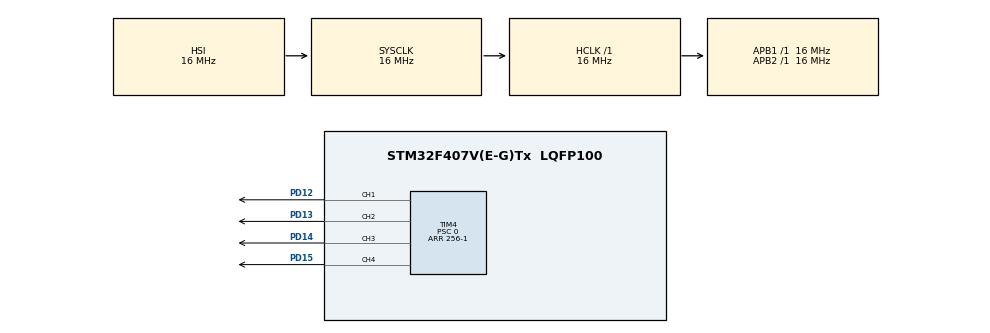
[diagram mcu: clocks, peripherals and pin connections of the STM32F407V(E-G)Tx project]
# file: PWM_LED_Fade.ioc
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Mcu.Family=STM32F4
Mcu.Name=STM32F407V(E-G)Tx
Mcu.Package=LQFP100
NVIC.PriorityGroup=NVIC_PRIORITYGROUP_4
NVIC.TIM4_IRQn=true\:0\:0\:false\:false\:true\:true\:true\:true
PD12.Signal=S_TIM4_CH1
PD13.Signal=S_TIM4_CH2
PD14.Signal=S_TIM4_CH3
PD15.Signal=S_TIM4_CH4
PH0-OSC_IN.Mode=HSE-External-Oscillator
PH0-OSC_IN.Signal=RCC_OSC_IN
PH1-OSC_OUT.Mode=HSE-External-Oscillator
PH1-OSC_OUT.Signal=RCC_OSC_OUT
ProjectManager.HeapSize=0x200
ProjectManager.StackSize=0x400
ProjectManager.TargetToolchain=STM32CubeIDE
RCC.AHBFreq_Value=16000000
RCC.APB1Freq_Value=16000000
RCC.APB2Freq_Value=16000000
RCC.CortexFreq_Value=16000000
RCC.HSE_VALUE=25000000
RCC.HSI_VALUE=16000000
RCC.LSE_VALUE=32768
RCC.SYSCLKFreq_VALUE=16000000
RCC.VCOOutputFreq_Value=192000000
SH.S_TIM4_CH1.0=TIM4_CH1,PWM Generation1 CH1
SH.S_TIM4_CH2.0=TIM4_CH2,PWM Generation2 CH2
SH.S_TIM4_CH3.0=TIM4_CH3,PWM Generation3 CH3
SH.S_TIM4_CH4.0=TIM4_CH4,PWM Generation4 CH4
TIM4.Channel-PWM\ Generation1\ CH1=TIM_CHANNEL_1
TIM4.Channel-PWM\ Generation2\ CH2=TIM_CHANNEL_2
TIM4.Channel-PWM\ Generation3\ CH3=TIM_CHANNEL_3
TIM4.Channel-PWM\ Generation4\ CH4=TIM_CHANNEL_4
TIM4.Period=256-1
TIM4.Prescaler=0
board=custom

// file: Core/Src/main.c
/* USER CODE BEGIN Header */
/**
 ******************************************************************************
 * @file           : main.c
 * @brief          : Main program body
 ******************************************************************************
 * @attention
 *
 * Copyright (c) 2024 STMicroelectronics.
 * All rights reserved.
 *
 * This software is licensed under terms that can be found in the LICENSE file
 * in the root directory of this software component.
 * If no LICENSE file comes with this software, it is provided AS-IS.
 *
 ******************************************************************************
 */
/* USER CODE END Header */
#include "main.h"

/* USER CODE BEGIN PD */
int state = 1;
int STARTED =0;
/* USER CODE END PD */

TIM_HandleTypeDef htim4;

void SystemClock_Config(void);
static void MX_GPIO_Init(void);
static void MX_TIM4_Init(void);

/* USER CODE BEGIN 0 */
void All_LED_FADE_PATTERN1();  //All led FAde in and out together
void ALL_LED_FADE_PATTERN2(); //LEDs fade in and out alternatively for example one led starts fading out the next one starts fading in
/* USER CODE END 0 */

int main(void) {

	/* MCU Configuration--------------------------------------------------------*/

	/* Reset of all peripherals, Initializes the Flash interface and the Systick. */
	HAL_Init();

	/* Configure the system clock */
	SystemClock_Config();

	/* Initialize all configured peripherals */
	MX_GPIO_Init();
	MX_TIM4_Init();
	/* USER CODE BEGIN 2 */
	HAL_TIM_PWM_Start(&htim4, TIM_CHANNEL_4);
	HAL_TIM_PWM_Start(&htim4, TIM_CHANNEL_3);
	HAL_TIM_PWM_Start(&htim4, TIM_CHANNEL_2);
	HAL_TIM_PWM_Start(&htim4, TIM_CHANNEL_1);
	/* USER CODE END 2 */

	/* Infinite loop */
	while (1) {
		/* USER CODE BEGIN 3 */
		void ALL_LED_FADE_PATTERN2();
		/* USER CODE END 3 */
	}
}

void SystemClock_Config(void) {
	RCC_OscInitTypeDef RCC_OscInitStruct = { 0 };
	RCC_ClkInitTypeDef RCC_ClkInitStruct = { 0 };

	/** Configure the main internal regulator output voltage
	 */
	__HAL_RCC_PWR_CLK_ENABLE();
	__HAL_PWR_VOLTAGESCALING_CONFIG(PWR_REGULATOR_VOLTAGE_SCALE1);

	/** Initializes the RCC Oscillators according to the specified parameters
	 * in the RCC_OscInitTypeDef structure.
	 */
	RCC_OscInitStruct.OscillatorType = RCC_OSCILLATORTYPE_HSI;
	RCC_OscInitStruct.HSIState = RCC_HSI_ON;
	RCC_OscInitStruct.HSICalibrationValue = RCC_HSICALIBRATION_DEFAULT;
	RCC_OscInitStruct.PLL.PLLState = RCC_PLL_NONE;
	if (HAL_RCC_OscConfig(&RCC_OscInitStruct) != HAL_OK) {
		Error_Handler();
	}

	/** Initializes the CPU, AHB and APB buses clocks
	 */
	RCC_ClkInitStruct.ClockType = RCC_CLOCKTYPE_HCLK | RCC_CLOCKTYPE_SYSCLK
			| RCC_CLOCKTYPE_PCLK1 | RCC_CLOCKTYPE_PCLK2;
	RCC_ClkInitStruct.SYSCLKSource = RCC_SYSCLKSOURCE_HSI;
	RCC_ClkInitStruct.AHBCLKDivider = RCC_SYSCLK_DIV1;
	RCC_ClkInitStruct.APB1CLKDivider = RCC_HCLK_DIV1;
	RCC_ClkInitStruct.APB2CLKDivider = RCC_HCLK_DIV1;

	if (HAL_RCC_ClockConfig(&RCC_ClkInitStruct, FLASH_LATENCY_0) != HAL_OK) {
		Error_Handler();
	}
}

static void MX_TIM4_Init(void) {

	TIM_MasterConfigTypeDef sMasterConfig = { 0 };
	TIM_OC_InitTypeDef sConfigOC = { 0 };

	htim4.Instance = TIM4;
	htim4.Init.Prescaler = 0;
	htim4.Init.CounterMode = TIM_COUNTERMODE_UP;
	htim4.Init.Period = 256 - 1;
	htim4.Init.ClockDivision = TIM_CLOCKDIVISION_DIV1;
	htim4.Init.AutoReloadPreload = TIM_AUTORELOAD_PRELOAD_DISABLE;
	if (HAL_TIM_PWM_Init(&htim4) != HAL_OK) {
		Error_Handler();
	}
	sMasterConfig.MasterOutputTrigger = TIM_TRGO_RESET;
	sMasterConfig.MasterSlaveMode = TIM_MASTERSLAVEMODE_DISABLE;
	if (HAL_TIMEx_MasterConfigSynchronization(&htim4, &sMasterConfig)
			!= HAL_OK) {
		Error_Handler();
	}
	sConfigOC.OCMode = TIM_OCMODE_PWM1;
	sConfigOC.Pulse = 0;
	sConfigOC.OCPolarity = TIM_OCPOLARITY_HIGH;
	sConfigOC.OCFastMode = TIM_OCFAST_DISABLE;
	if (HAL_TIM_PWM_ConfigChannel(&htim4, &sConfigOC, TIM_CHANNEL_1)
			!= HAL_OK) {
		Error_Handler();
	}
	if (HAL_TIM_PWM_ConfigChannel(&htim4, &sConfigOC, TIM_CHANNEL_2)
			!= HAL_OK) {
		Error_Handler();
	}
	if (HAL_TIM_PWM_ConfigChannel(&htim4, &sConfigOC, TIM_CHANNEL_3)
			!= HAL_OK) {
		Error_Handler();
	}
	if (HAL_TIM_PWM_ConfigChannel(&htim4, &sConfigOC, TIM_CHANNEL_4)
			!= HAL_OK) {
		Error_Handler();
	}
	HAL_TIM_MspPostInit(&htim4);

}

static void MX_GPIO_Init(void) {

	/* GPIO Ports Clock Enable */
	__HAL_RCC_GPIOH_CLK_ENABLE();
	__HAL_RCC_GPIOD_CLK_ENABLE();

}

/* USER CODE BEGIN 4 */
void All_LED_FADE_PATTERN1() {     //All led fade in and out together
	for (int i = 0; i < 100; i++) {
		__HAL_TIM_SET_COMPARE(&htim4, TIM_CHANNEL_4, i);
		__HAL_TIM_SET_COMPARE(&htim4, TIM_CHANNEL_3, i);
		__HAL_TIM_SET_COMPARE(&htim4, TIM_CHANNEL_2, i);
		__HAL_TIM_SET_COMPARE(&htim4, TIM_CHANNEL_1, i);
		HAL_Delay(50);
	}

	// HAL_GPIO_TogglePin(GPIOD, GPIO_PIN_14); i         //Indicates Max brightness
	for (int j = 100; j > 0; j--) {
		__HAL_TIM_SET_COMPARE(&htim4, TIM_CHANNEL_4, j);
		__HAL_TIM_SET_COMPARE(&htim4, TIM_CHANNEL_3, j);
		__HAL_TIM_SET_COMPARE(&htim4, TIM_CHANNEL_2, j);
		__HAL_TIM_SET_COMPARE(&htim4, TIM_CHANNEL_1, j);
		HAL_Delay(50);
	}

}

void ALL_LED_FADE_PATTERN2() {
	switch (state) {
	case 1:
		for (int i = 0; i <= 100; i++) {
			__HAL_TIM_SET_COMPARE(&htim4, TIM_CHANNEL_4, i);
			if(STARTED == 1){__HAL_TIM_SET_COMPARE(&htim4, TIM_CHANNEL_1, 100 - i);}
			HAL_Delay(20);
		}
		break;
	case 2:
		for (int i = 0; i <= 100; i++) {
			__HAL_TIM_SET_COMPARE(&htim4, TIM_CHANNEL_3, i);
			__HAL_TIM_SET_COMPARE(&htim4, TIM_CHANNEL_4, 100 - i);
			HAL_Delay(20);
		}
		break;
	case 3:
		for (int i = 0; i <= 100; i++) {
			__HAL_TIM_SET_COMPARE(&htim4, TIM_CHANNEL_2, i);
			__HAL_TIM_SET_COMPARE(&htim4, TIM_CHANNEL_3, 100-i);
			HAL_Delay(20);
		}
		break;
	case 4:
		for (int i = 0; i <= 100; i++) {
			__HAL_TIM_SET_COMPARE(&htim4, TIM_CHANNEL_1, i);
			__HAL_TIM_SET_COMPARE(&htim4, TIM_CHANNEL_2, 100-i);
		}
		state = 1;
		break;
	default: All_LED_FADE_PATTERN1();
	}
	STARTED = 1;

}
/* USER CODE END 4 */

void Error_Handler(void) {
	__disable_irq();
	while (1) {
	}
}
